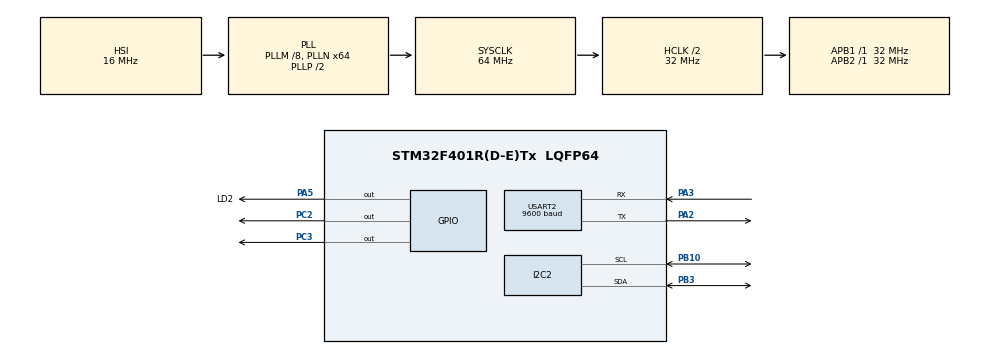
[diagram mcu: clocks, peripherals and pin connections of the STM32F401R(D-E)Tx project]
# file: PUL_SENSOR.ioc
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Mcu.Family=STM32F4
Mcu.Name=STM32F401R(D-E)Tx
Mcu.Package=LQFP64
NVIC.PriorityGroup=NVIC_PRIORITYGROUP_4
NVIC.TIM2_IRQn=true\:0\:0\:false\:false\:true\:true\:true\:true
NVIC.TIM3_IRQn=true\:0\:0\:false\:false\:true\:true\:true\:true
PA2.Mode=Asynchronous
PA2.Signal=USART2_TX
PA3.Mode=Asynchronous
PA3.Signal=USART2_RX
PA5.GPIO_Label=LD2
PA5.Signal=GPIO_Output
PB10.Mode=I2C
PB10.Signal=I2C2_SCL
PB3.Mode=I2C
PB3.Signal=I2C2_SDA
PC2.Signal=GPIO_Output
PC3.Signal=GPIO_Output
ProjectManager.HeapSize=0x200
ProjectManager.StackSize=0x400
ProjectManager.TargetToolchain=STM32CubeIDE
RCC.48MHZClocksFreq_Value=32000000
RCC.AHBCLKDivider=RCC_SYSCLK_DIV2
RCC.AHBFreq_Value=32000000
RCC.APB1Freq_Value=32000000
RCC.APB1TimFreq_Value=32000000
RCC.APB2Freq_Value=32000000
RCC.APB2TimFreq_Value=32000000
RCC.CortexFreq_Value=32000000
RCC.HCLKFreq_Value=32000000
RCC.HSE_VALUE=25000000
RCC.HSI_VALUE=16000000
RCC.LSE_VALUE=32768
RCC.PLLM=8
RCC.PLLN=64
RCC.SYSCLKFreq_VALUE=64000000
RCC.SYSCLKSource=RCC_SYSCLKSOURCE_PLLCLK
RCC.VCOOutputFreq_Value=128000000
TIM2.Period=1000
TIM2.Prescaler=31999
TIM3.Period=4500
TIM3.Prescaler=31999
USART2.BaudRate=9600
USART2.VirtualMode=VM_ASYNC
VP_TIM2_VS_ClockSourceINT.Mode=Internal
VP_TIM3_VS_ClockSourceINT.Mode=Internal
board=custom

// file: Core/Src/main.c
/* USER CODE BEGIN Header */
/**
  ******************************************************************************
  * @file           : main.c
  * @brief          : Main program body
  ******************************************************************************
  * @attention
  *
  * Copyright (c) 2022 STMicroelectronics.
  * All rights reserved.
  *
  * This software is licensed under terms that can be found in the LICENSE file
  * in the root directory of this software component.
  * If no LICENSE file comes with this software, it is provided AS-IS.
  *
  ******************************************************************************
  */
/* USER CODE END Header */
#include "main.h"
#include "i2c.h"
#include "tim.h"
#include "usart.h"
#include "gpio.h"
#include "MAX32664.h"

void SystemClock_Config(void);

/* USER CODE BEGIN 0 */
#define SCL GPIO_PIN_10
#define GPIO_SCL GPIOB
#define SDA GPIO_PIN_3
#define GPIO_SDA GPIOB
#define RESET  GPIO_PIN_2
#define GPIO_RESET	GPIOC
#define MFIO GPIO_PIN_3
#define GPIO_MFIO GPIOC
#define LD2 GPIO_PIN_5
#define GPIO_LD2 GPIOA

MAX32664 max;

char *ox = "Reading oxygen values:\r\n";
char *hr = "Reading heart rate value:\r\n";
char *conf = "Reading confidence:\r\n";
char *state = "state: \r\n";
char *status = "status: \r\n";
char *average_oxy = "average SpO2: \r\n";
char *average_hr = "average heart rate: \r\n";
char *uart_hr = "HEART RATE TO UART: \r\n";

char str[100];

 int avg_hr = 0;
 int avg_oxy = 0;
 int hr_array[60] = {0};
 int oxy_array[60] = {0};
 int len_hr = sizeof(hr_array) / sizeof(int);
 int len_oxy = sizeof(oxy_array) / sizeof(int);

int movingAverage(int *ptr_array, int len, int new_sample){
	// calculate moving average of array
	  for (int i = 0; i <= len-1; i++){
		  ptr_array[i] = ptr_array[i+1]; // shift array one sample
	  }
	  ptr_array[len -1] = new_sample; // and add new_sample to the end of the array

	int sum = 0; // init Sum
	int good_samples = 0; // number of samples that are usable

	for (int i = 0; i <= len-1; i++) {
	  if (ptr_array[i] != 0) {
		  sum = sum + ptr_array[i]; // sum of all usable values
		  good_samples++;
	  }
	}
	if (good_samples == 0) {
	  return 0; // if no good samples return 0
	}
	else {
	  return sum / (good_samples); // else return average of good samples
	}
}

/* USER CODE END 0 */

int main(void)
{

  /* MCU Configuration--------------------------------------------------------*/

  /* Reset of all peripherals, Initializes the Flash interface and the Systick. */
  HAL_Init();

  /* Configure the system clock */
  SystemClock_Config();

  /* Initialize all configured peripherals */
  MX_GPIO_Init();
  MX_USART2_UART_Init();
  MX_I2C2_Init();
  MX_TIM2_Init();
  MX_TIM3_Init();
  /* USER CODE BEGIN 2 */
  HAL_TIM_Base_Start_IT(&htim2); //initalize timer 2
  HAL_TIM_Base_Start_IT(&htim3); //initalize timer 3

  if(begin(&max,&hi2c2, GPIO_RESET,GPIO_MFIO, RESET, MFIO) != OK){
	  char * error = "errore nella begin";
	  HAL_UART_Transmit(&huart2, (uint8_t*) error, strlen(error), HAL_MAX_DELAY);
  }

  if(config_sensor(&max, 0x01) != OK){
	  char * error = "errore nella CONFIG\r\n";
	  	   HAL_UART_Transmit(&huart2, (uint8_t*) error, strlen(error), HAL_MAX_DELAY);
  }
  /* USER CODE END 2 */

  /* Infinite loop */
  while (1)
  {

  }
}
void SystemClock_Config(void)
{
  RCC_OscInitTypeDef RCC_OscInitStruct = {0};
  RCC_ClkInitTypeDef RCC_ClkInitStruct = {0};

  /** Configure the main internal regulator output voltage
  */
  __HAL_RCC_PWR_CLK_ENABLE();
  __HAL_PWR_VOLTAGESCALING_CONFIG(PWR_REGULATOR_VOLTAGE_SCALE2);

  /** Initializes the RCC Oscillators according to the specified parameters
  * in the RCC_OscInitTypeDef structure.
  */
  RCC_OscInitStruct.OscillatorType = RCC_OSCILLATORTYPE_HSI;
  RCC_OscInitStruct.HSIState = RCC_HSI_ON;
  RCC_OscInitStruct.HSICalibrationValue = RCC_HSICALIBRATION_DEFAULT;
  RCC_OscInitStruct.PLL.PLLState = RCC_PLL_ON;
  RCC_OscInitStruct.PLL.PLLSource = RCC_PLLSOURCE_HSI;
  RCC_OscInitStruct.PLL.PLLM = 8;
  RCC_OscInitStruct.PLL.PLLN = 64;
  RCC_OscInitStruct.PLL.PLLP = RCC_PLLP_DIV2;
  RCC_OscInitStruct.PLL.PLLQ = 4;
  if (HAL_RCC_OscConfig(&RCC_OscInitStruct) != HAL_OK)
  {
    Error_Handler();
  }

  /** Initializes the CPU, AHB and APB buses clocks
  */
  RCC_ClkInitStruct.ClockType = RCC_CLOCKTYPE_HCLK|RCC_CLOCKTYPE_SYSCLK
                              |RCC_CLOCKTYPE_PCLK1|RCC_CLOCKTYPE_PCLK2;
  RCC_ClkInitStruct.SYSCLKSource = RCC_SYSCLKSOURCE_PLLCLK;
  RCC_ClkInitStruct.AHBCLKDivider = RCC_SYSCLK_DIV2;
  RCC_ClkInitStruct.APB1CLKDivider = RCC_HCLK_DIV1;
  RCC_ClkInitStruct.APB2CLKDivider = RCC_HCLK_DIV1;

  if (HAL_RCC_ClockConfig(&RCC_ClkInitStruct, FLASH_LATENCY_1) != HAL_OK)
  {
    Error_Handler();
  }
}

/* USER CODE BEGIN 4 */
void HAL_TIM_PeriodElapsedCallback(TIM_HandleTypeDef *htim)
{
	// IF timer 2 (calculate moving average)
	if (htim->Instance == TIM2 ){
		HAL_GPIO_TogglePin(GPIO_LD2, LD2);
		read_sensor(&max);
		if (max.algorithm_state != 3){ // if state != 3 finger is not on sensor
			  char *cmd = "Place finger on sensor \r";
			  HAL_UART_Transmit(&huart2, (uint8_t*) cmd, strlen(cmd),HAL_MAX_DELAY);
			  avg_hr = movingAverage(hr_array, len_hr, 0);
			  avg_oxy = movingAverage(oxy_array, len_oxy, 0);
		 }
		 else if (max.confidence < 90) { // don't use values with confidence less than
			  avg_hr = movingAverage(hr_array, len_hr, 0);
			  avg_oxy = movingAverage(oxy_array, len_oxy, 0);
		 }
		 else { // if confidence and state are ok, print to OLED
			  avg_hr = movingAverage(hr_array, len_hr, max.heart_rate);
			  avg_oxy = movingAverage(oxy_array, len_oxy, max.oxygen);

			  //HAL_UART_Transmit(&huart2, (uint8_t*) hr, strlen(hr), HAL_MAX_DELAY);
			  //sprintf(str,"%u\r\n", max.heart_rate);
			  //HAL_UART_Transmit(&huart2, (uint8_t*) str, strlen(str),HAL_MAX_DELAY);

			  HAL_UART_Transmit(&huart2, (uint8_t*) average_hr, strlen(average_hr),HAL_MAX_DELAY);
			  sprintf(str,"%d\r\n", avg_hr);
			  HAL_UART_Transmit(&huart2, (uint8_t*) str, strlen(str),HAL_MAX_DELAY);

			  HAL_UART_Transmit(&huart2, (uint8_t*) average_oxy, strlen(average_oxy),HAL_MAX_DELAY);
			  sprintf(str,"%d\r\n", avg_oxy);
			  HAL_UART_Transmit(&huart2, (uint8_t*) str, strlen(str),HAL_MAX_DELAY);
			  if (avg_oxy >= 94 || avg_hr <= 110){
				  ; // print Normal
			  }
			  else if (avg_oxy <= 90){
				  ; // print critical warning
			  }
			  else {
				  ; // print warning if SpO2 levels are below X or HR is below Y
			  }

		  }
	}
	// else if timer 3 (print to UART)
	else if (htim->Instance == TIM3) {
		HAL_UART_Transmit(&huart2, (uint8_t*) uart_hr, strlen(uart_hr), HAL_MAX_DELAY);
		sprintf(str,"%u\r\n", avg_hr);
		HAL_UART_Transmit(&huart2, (uint8_t*) str, strlen(str),HAL_MAX_DELAY);
	}
}
/* USER CODE END 4 */

void Error_Handler(void)
{
  __disable_irq();
  while (1)
  {
  }
}
